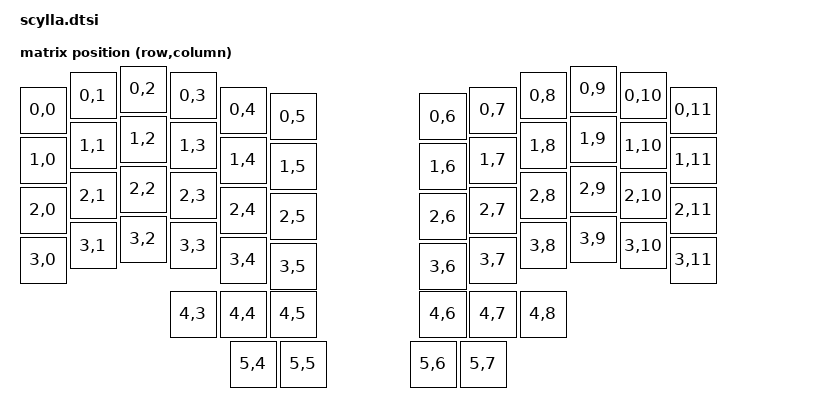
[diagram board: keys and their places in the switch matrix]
#include <dt-bindings/zmk/matrix_transform.h>
#include <dt-bindings/zmk/input_transform.h>
#include <dt-bindings/gpio/gpio.h>
#include <physical_layouts.dtsi>
#include <dt-bindings/zmk/pointing.h>

/ {
    kscan0: kscan {
        compatible = "zmk,kscan-gpio-matrix";
        diode-direction = "col2row";
        wakeup-source;
        poll-period-ms = <25>;

    };

    default_transform: keymap_transform_0 {
        compatible = "zmk,matrix-transform";
        columns = <12>;
        rows = <6>;
        map = <
            RC(0,0) RC(0,1) RC(0,2) RC(0,3) RC(0,4) RC(0,5)     RC(0,6) RC(0,7) RC(0,8) RC(0,9) RC(0,10) RC(0,11)
            RC(1,0) RC(1,1) RC(1,2) RC(1,3) RC(1,4) RC(1,5)     RC(1,6) RC(1,7) RC(1,8) RC(1,9) RC(1,10) RC(1,11)
            RC(2,0) RC(2,1) RC(2,2) RC(2,3) RC(2,4) RC(2,5)     RC(2,6) RC(2,7) RC(2,8) RC(2,9) RC(2,10) RC(2,11)
            RC(3,0) RC(3,1) RC(3,2) RC(3,3) RC(3,4) RC(3,5)     RC(3,6) RC(3,7) RC(3,8) RC(3,9) RC(3,10) RC(3,11)
                                    RC(4,3) RC(4,4) RC(4,5)     RC(4,6) RC(4,7) RC(4,8)
                                            RC(5,4) RC(5,5)     RC(5,6) RC(5,7)
        >;

    };

    physical_layout0: physical_layout_0 {
        compatible = "zmk,physical-layout";
        display-name = "Default Layout";
        kscan = <&kscan0>;
        transform = <&default_transform>;
        keys //                    w   h   x    y   rot  rx  ry
            = <&key_physical_attrs 100 100   0  42  0 0 0> // Row 1
            , <&key_physical_attrs 100 100 100  13  0 0 0>
            , <&key_physical_attrs 100 100 200   0  0 0 0>
            , <&key_physical_attrs 100 100 300  13  0 0 0>
            , <&key_physical_attrs 100 100 400  42  0 0 0>
            , <&key_physical_attrs 100 100 500  55  0 0 0>  // Esquerda
            , <&key_physical_attrs 100 100 800  55  0 0 0>
            , <&key_physical_attrs 100 100 900  42  0 0 0>
            , <&key_physical_attrs 100 100 1000 13  0 0 0>
            , <&key_physical_attrs 100 100 1100  0  0 0 0>
            , <&key_physical_attrs 100 100 1200 13  0 0 0>
            , <&key_physical_attrs 100 100 1300 42  0 0 0> // Direita
            , <&key_physical_attrs 100 100   0 142  0 0 0> // Row 2
            , <&key_physical_attrs 100 100 100 113  0 0 0>
            , <&key_physical_attrs 100 100 200 100  0 0 0>
            , <&key_physical_attrs 100 100 300 113  0 0 0>
            , <&key_physical_attrs 100 100 400 142  0 0 0>
            , <&key_physical_attrs 100 100 500 155  0 0 0>
            , <&key_physical_attrs 100 100 800 155  0 0 0>
            , <&key_physical_attrs 100 100 900 142  0 0 0>
            , <&key_physical_attrs 100 100 1000 113 0 0 0>
            , <&key_physical_attrs 100 100 1100 100 0 0 0>
            , <&key_physical_attrs 100 100 1200 113 0 0 0>
            , <&key_physical_attrs 100 100 1300 142 0 0 0>
            , <&key_physical_attrs 100 100   0 242  0 0 0> // Row 3
            , <&key_physical_attrs 100 100 100 213  0 0 0>
            , <&key_physical_attrs 100 100 200 200  0 0 0>
            , <&key_physical_attrs 100 100 300 213  0 0 0>
            , <&key_physical_attrs 100 100 400 242  0 0 0>
            , <&key_physical_attrs 100 100 500 255  0 0 0>
            , <&key_physical_attrs 100 100 800 255  0 0 0>
            , <&key_physical_attrs 100 100 900 242  0 0 0>
            , <&key_physical_attrs 100 100 1000 213 0 0 0>
            , <&key_physical_attrs 100 100 1100 200 0 0 0>
            , <&key_physical_attrs 100 100 1200 213 0 0 0>
            , <&key_physical_attrs 100 100 1300 242 0 0 0>
            , <&key_physical_attrs 100 100   0 342  0 0 0> // Row 4
            , <&key_physical_attrs 100 100 100 313  0 0 0>
            , <&key_physical_attrs 100 100 200 300  0 0 0>
            , <&key_physical_attrs 100 100 300 313  0 0 0>
            , <&key_physical_attrs 100 100 400 342  0 0 0>
            , <&key_physical_attrs 100 100 500 355  0 0 0>
            , <&key_physical_attrs 100 100 800 355  0 0 0>
            , <&key_physical_attrs 100 100 900 342  0 0 0>
            , <&key_physical_attrs 100 100 1000 313 0 0 0>
            , <&key_physical_attrs 100 100 1100 300 0 0 0>
            , <&key_physical_attrs 100 100 1200 313 0 0 0>
            , <&key_physical_attrs 100 100 1300 342 0 0 0>
            , <&key_physical_attrs 100 100 300 450  0 0 0> // Row 5
            , <&key_physical_attrs 100 100 400 450  0 0 0>
            , <&key_physical_attrs 100 100 500 450  0 0 0>
            , <&key_physical_attrs 100 100 800 450  0 0 0>
            , <&key_physical_attrs 100 100 900 450  0 0 0>
            , <&key_physical_attrs 100 100 1000 450 0 0 0>
            , <&key_physical_attrs 100 100 420 550  0 0 0> // Row 6
            , <&key_physical_attrs 100 100 520 550  0 0 0>
            , <&key_physical_attrs 100 100 780 550  0 0 0>
            , <&key_physical_attrs 100 100 880 550  0 0 0>
            ;
    };

    chosen {
        zmk,kscan = &kscan0;
        zmk,physical-layout = &physical_layout0;
    };
    
};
